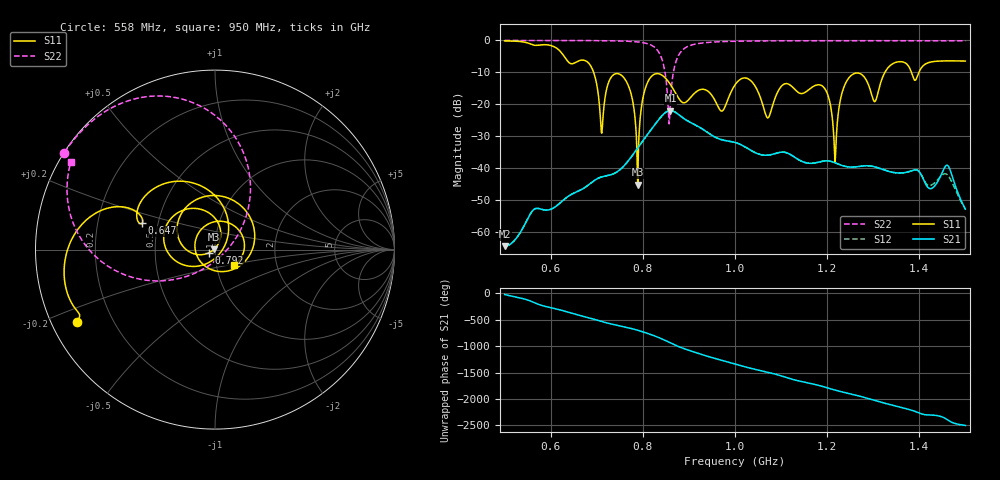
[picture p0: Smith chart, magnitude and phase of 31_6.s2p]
! TOUCHSTONE file generated by CST MICROWAVE STUDIO
! Date and time: Tue Nov 24 13:45:32 2020
! Project name: Scenario_1_Planar_Body_Tissue_Out_of_Line.cst
! Parameters = {dy1=173; L_HA=400; Ltissue=700; MT=2.54; Rad_Dielectric=30; Rad_Lower=7.3; Rad_Upper=30; Wtissue=700; a_HA=580; a_WG=246; b_HA=500; b_WG=121; c_HA=0; c_WG=187; d_feed=85; dx1=1039; h_feed=15; h_lower=18; h_upper=40; hfat=3; hgap=25; hmuscle=50; hskin=1.5}
! Header version: 2018
! Port assignment regex: !\s*Touchstone port\s*([0-9]+)\s*=\s*(CST MWS port|CST DS port)\s*([0-9]+|Zmin|Zmax)\s*\(\"(.*)\"\)(\s*mode\s*([0-9]+))?.*
! Touchstone port assignment:
! Touchstone port 1 = CST MWS port 1 ("")
! Touchstone port 2 = CST MWS port 2 ("")
# GHz S DB R 50
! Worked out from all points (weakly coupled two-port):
!   1003 points, 500 MHz to 1.5 GHz, reference 50 ohm
!   highest |S21| = -22.01 dB at 860 MHz (marker M1); lowest = -64.5 dB at 500 MHz (marker M2)
!   lowest |S11| = -45.2 dB at 789 MHz (marker M3), VSWR 1.01, Z = 49.5 + j0.136 ohm
!   |S11| at or under -10 dB: 693.2 MHz to 1.325 GHz (632.2 MHz wide, 62.6 % of centre); 1.383 GHz to 1.399 GHz (16.39 MHz wide, 1.18 % of centre)
!   |S22| runs from -26.2 to 0.0 dB; largest |S21 - S12| = 0.0037
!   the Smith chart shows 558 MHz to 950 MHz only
!   S11 on the Smith chart (normalised r, x): 558 MHz: 0.08, -0.25; 647 MHz: 0.41, +0.15; 792 MHz: 0.94, -0.03; 950 MHz: 1.22, -0.21
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0.5  -0.15 -121.6  -64.54 -21.1  -64.54 -21.1  -0.01 151.1
0.558  -1.24 -152.1  -53.95 -150.9  -53.95 -150.9  -0.01 147.2
0.647  -7.30 160.1  -48.14 -18.4  -48.15 -18.4  -0.03 140.2
0.667  -6.18 148.5  -46.76 -65.6  -46.76 -65.6  -0.04 138.4
0.711  -29.09 -52.4  -42.80 -173.2  -42.80 -173.2  -0.08 133.5
0.761  -12.12 112.9  -39.05 84.9  -39.05 84.9  -0.22 125.1
0.789  -45.24 165.4  -33.69 21.6  -33.69 21.6  -0.47 117.1
0.792  -28.81 -152.0  -33.08 13.7  -33.08 13.7  -0.52 115.9
0.806  -14.76 173.1  -30.29 -25.4  -30.29 -25.4  -0.86 109.2
0.834  -10.45 85.2  -24.92 -115.0  -24.92 -115.0  -3.54 82.4
0.86  -13.85 -3.4  -22.01 140.2  -22.01 140.2  -18.53 -119.0
0.882  -18.98 -102.6  -23.75 56.5  -23.75 56.5  -3.66 -175.8
0.95  -17.28 -37.5  -29.80 -137.2  -29.80 -137.1  -0.53 148.7
1  -13.95 59.0  -32.00 102.4  -32.00 102.4  -0.26 140.1
1.071  -24.30 145.8  -36.00 -54.1  -35.99 -54.1  -0.14 132.3
1.167  -14.70 77.4  -38.55 86.6  -38.55 86.6  -0.10 124.1
1.217  -37.99 -138.5  -38.38 -33.1  -38.38 -33.1  -0.09 120.3
1.247  -11.77 55.1  -39.69 -98.2  -39.69 -98.2  -0.09 118.0
1.303  -19.21 12.7  -39.64 131.3  -39.64 131.3  -0.08 113.8
1.334  -8.25 24.9  -41.12 57.1  -41.12 57.1  -0.09 111.5
1.461  -6.42 -32.8  -39.17 123.4  -42.16 113.4  -0.11 101.3
1.5  -6.47 -43.1  -52.92 16.1  -52.92 16.1  -0.13 97.9
